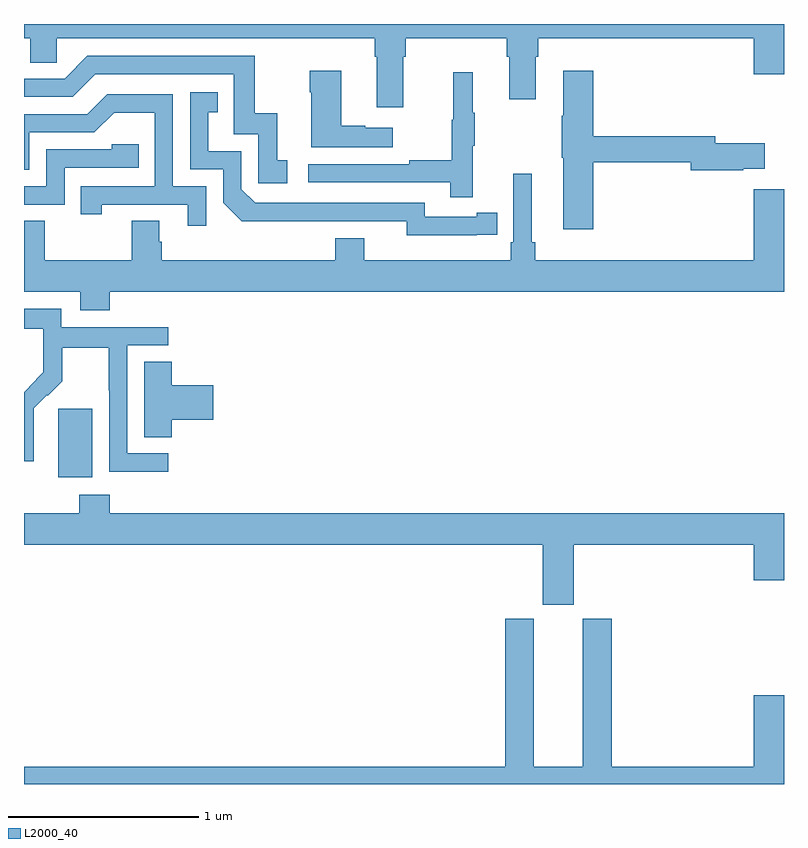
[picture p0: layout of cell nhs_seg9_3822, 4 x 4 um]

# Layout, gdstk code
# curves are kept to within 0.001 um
import gdstk
lib = gdstk.Library(unit=1e-6, precision=1e-09)
def R(c, l, rs):  # rectangles x0, y0, x1, y1
    for r in rs: c.add(gdstk.rectangle(r[:2], r[2:], *l))
def P(c, l, *ps):  # polygons
    for p in ps: c.add(gdstk.Polygon(p, *l))
L2000_40 = (2000, 40)

nhs_seg9_3822 = lib.new_cell('nhs_seg9_3822')
R(nhs_seg9_3822, L2000_40, [(329.18,1190.114,329.359,1190.475)])
P(nhs_seg9_3822, L2000_40, [(330.997,1192.328),(331.01,1192.328),(331.01,1192.424),(331.541,1192.424),(331.541,1192.328),(331.553,1192.328),(331.553,1192.104),(331.693,1192.104),(331.693,1192.328),(331.706,1192.328),(331.706,1192.424),(332.84,1192.424),(332.84,1192.236),(333,1192.236),(333,1192.5),(329,1192.5),(329,1192.424),(329.033,1192.424),(329.033,1192.297),(329.172,1192.297),(329.172,1192.424),(330.845,1192.424),(330.845,1192.328),(330.857,1192.328),(330.857,1192.062),(330.997,1192.062)],
  [(330.385,1191.783),(330.332,1191.783),(330.332,1192.03),(330.214,1192.03),(330.214,1192.332),(329.334,1192.332),(329.214,1192.212),(329,1192.212),(329,1192.116),(329.256,1192.116),(329.376,1192.236),(330.105,1192.236),(330.105,1191.921),(330.234,1191.921),(330.234,1191.663),(330.385,1191.663)],
  [(330.94,1191.955),(330.797,1191.955),(330.797,1191.965),(330.67,1191.965),(330.67,1192.255),(330.505,1192.255),(330.505,1192.142),(330.512,1192.142),(330.512,1191.851),(330.94,1191.851)],
  [(331.997,1191.772),(332.51,1191.772),(332.51,1191.73),(332.786,1191.73),(332.786,1191.737),(332.899,1191.737),(332.899,1191.872),(332.638,1191.872),(332.638,1191.908),(331.997,1191.908),(331.997,1192.255),(331.838,1192.255),(331.838,1192.016),(331.831,1192.016),(331.831,1191.795),(331.838,1191.795),(331.838,1191.42),(331.997,1191.42)],
  [(331.361,1191.859),(331.372,1191.859),(331.372,1192.033),(331.361,1192.033),(331.361,1192.246),(331.258,1192.246),(331.258,1191.996),(331.251,1191.996),(331.251,1191.782),(331.027,1191.782),(331.027,1191.762),(330.495,1191.762),(330.495,1191.666),(331.243,1191.666),(331.243,1191.588),(331.361,1191.588)],
  [(331.382,1191.39),(331.49,1191.39),(331.49,1191.506),(331.382,1191.506),(331.382,1191.486),(331.11,1191.486),(331.11,1191.558),(330.216,1191.558),(330.144,1191.63),(330.144,1191.831),(329.971,1191.831),(329.971,1192.035),(330.02,1192.035),(330.02,1192.141),(329.874,1192.141),(329.874,1191.735),(330.048,1191.735),(330.048,1191.558),(330.146,1191.461),(331.014,1191.462),(331.014,1191.389)],
  [(329.958,1191.645),(329.784,1191.645),(329.784,1192.131),(329.438,1192.131),(329.333,1192.026),(329,1192.026),(329,1191.732),(329.028,1191.732),(329.028,1191.93),(329.37,1191.93),(329.474,1192.034),(329.688,1192.034),(329.688,1191.645),(329.299,1191.645),(329.299,1191.498),(329.41,1191.498),(329.41,1191.549),(329.861,1191.549),(329.861,1191.438),(329.958,1191.438)],
  [(329.214,1191.744),(329.603,1191.744),(329.603,1191.867),(329.463,1191.867),(329.463,1191.84),(329.118,1191.84),(329.118,1191.645),(329,1191.645),(329,1191.549),(329.214,1191.549)],
  [(333,1191.631),(332.84,1191.631),(332.84,1191.256),(331.691,1191.256),(331.691,1191.352),(331.672,1191.352),(331.672,1191.712),(331.575,1191.712),(331.575,1191.352),(331.562,1191.352),(331.562,1191.256),(330.79,1191.256),(330.79,1191.373),(330.638,1191.373),(330.638,1191.256),(329.726,1191.256),(329.726,1191.354),(329.713,1191.354),(329.713,1191.464),(329.566,1191.464),(329.566,1191.256),(329.109,1191.256),(329.109,1191.464),(329,1191.464),(329,1191.092),(329.297,1191.092),(329.297,1190.993),(329.45,1190.993),(329.45,1191.092),(333,1191.092)],
  [(329.758,1190.241),(329.544,1190.241),(329.544,1190.808),(329.758,1190.808),(329.758,1190.904),(329.196,1190.904),(329.196,1191.001),(329,1191.001),(329,1190.897),(329.1,1190.897),(329.1,1190.763),(329.102,1190.763),(329.102,1190.666),(329.028,1190.592),(329.029,1190.591),(329,1190.562),(329,1190.2),(329.052,1190.2),(329.051,1190.477),(329.121,1190.547),(329.124,1190.544),(329.201,1190.621),(329.201,1190.796),(329.446,1190.796),(329.446,1190.572),(329.448,1190.572),(329.448,1190.143),(329.758,1190.143)],
  [(329.777,1190.417),(329.995,1190.417),(329.995,1190.6),(329.777,1190.6),(329.777,1190.723),(329.633,1190.723),(329.633,1190.326),(329.777,1190.326)],
  [(331.894,1189.76),(332.84,1189.76),(332.84,1189.572),(333,1189.572),(333,1189.924),(329.45,1189.924),(329.45,1190.023),(329.29,1190.023),(329.29,1189.924),(329,1189.924),(329,1189.76),(331.73,1189.76),(331.73,1189.443),(331.894,1189.443)],
  [(333,1188.967),(332.84,1188.967),(332.84,1188.592),(332.093,1188.592),(332.093,1189.371),(331.94,1189.371),(331.94,1188.592),(331.684,1188.592),(331.684,1189.371),(331.532,1189.371),(331.532,1188.592),(329,1188.592),(329,1188.5),(333,1188.5)])

lib.write_gds('nhs_seg9_3822.gds')
